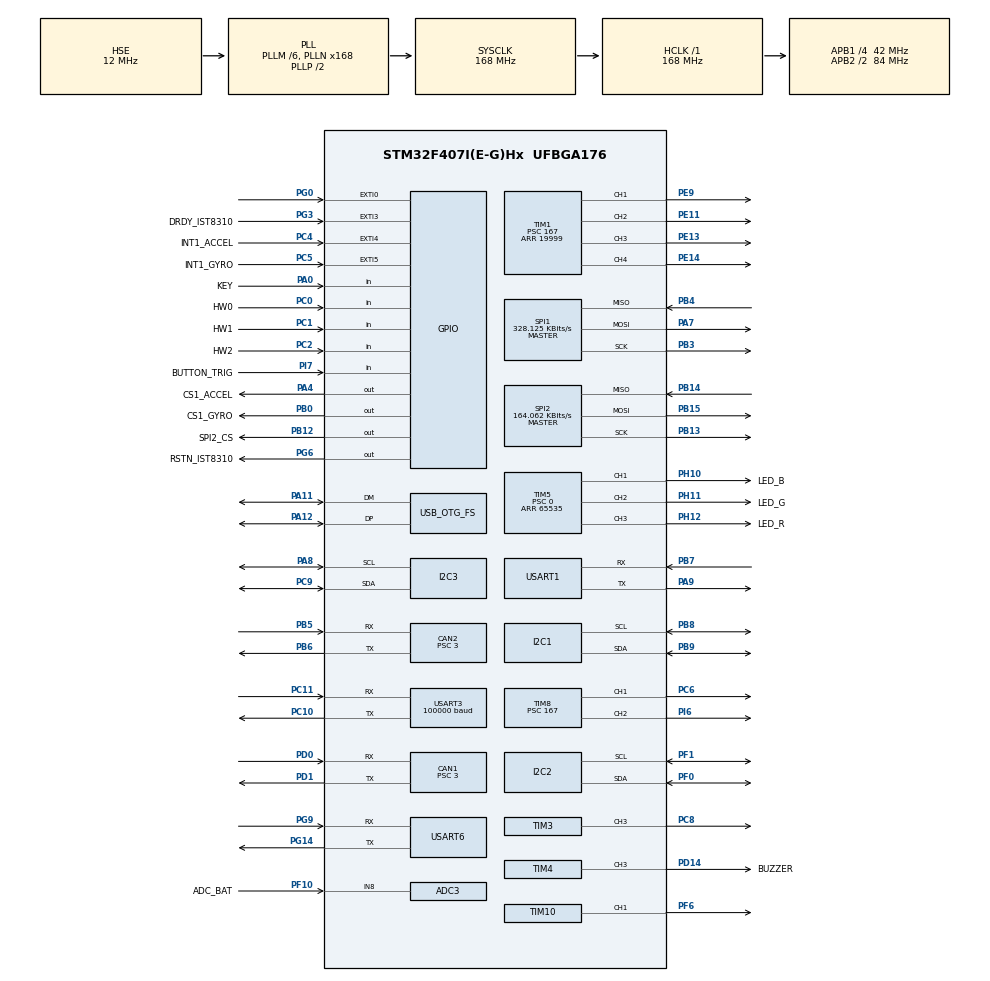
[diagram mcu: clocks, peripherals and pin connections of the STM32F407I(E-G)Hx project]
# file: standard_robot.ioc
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ADC1.Channel-0\#ChannelRegularConversion=ADC_CHANNEL_TEMPSENSOR
ADC1.ClockPrescaler=ADC_CLOCK_SYNC_PCLK_DIV6
ADC1.NbrOfConversionFlag=1
ADC1.Rank-0\#ChannelRegularConversion=1
ADC1.SamplingTime-0\#ChannelRegularConversion=ADC_SAMPLETIME_3CYCLES
ADC1.master=1
ADC3.Channel-0\#ChannelRegularConversion=ADC_CHANNEL_8
ADC3.ClockPrescaler=ADC_CLOCK_SYNC_PCLK_DIV6
ADC3.NbrOfConversionFlag=1
ADC3.Rank-0\#ChannelRegularConversion=1
ADC3.SamplingTime-0\#ChannelRegularConversion=ADC_SAMPLETIME_3CYCLES
CAN1.BS1=CAN_BS1_10TQ
CAN1.BS2=CAN_BS2_3TQ
CAN1.CalculateTimeQuantum=71.42857142857143
CAN1.Prescaler=3
CAN2.BS1=CAN_BS1_10TQ
CAN2.BS2=CAN_BS2_3TQ
CAN2.CalculateTimeQuantum=71.42857142857143
CAN2.Prescaler=3
Dma.I2C2_TX.2.Direction=DMA_MEMORY_TO_PERIPH
Dma.I2C2_TX.2.FIFOMode=DMA_FIFOMODE_DISABLE
Dma.I2C2_TX.2.Instance=DMA1_Stream7
Dma.I2C2_TX.2.MemDataAlignment=DMA_MDATAALIGN_BYTE
Dma.I2C2_TX.2.MemInc=DMA_MINC_ENABLE
Dma.I2C2_TX.2.Mode=DMA_NORMAL
Dma.I2C2_TX.2.PeriphDataAlignment=DMA_PDATAALIGN_BYTE
Dma.I2C2_TX.2.PeriphInc=DMA_PINC_DISABLE
Dma.I2C2_TX.2.Priority=DMA_PRIORITY_HIGH
Dma.Request0=SPI1_RX
Dma.Request1=SPI1_TX
Dma.Request2=I2C2_TX
Dma.Request3=USART3_RX
Dma.Request4=USART6_RX
Dma.Request5=USART6_TX
Dma.Request6=USART1_TX
Dma.Request7=USART1_RX
Dma.SPI1_RX.0.Direction=DMA_PERIPH_TO_MEMORY
Dma.SPI1_RX.0.FIFOMode=DMA_FIFOMODE_DISABLE
Dma.SPI1_RX.0.Instance=DMA2_Stream2
Dma.SPI1_RX.0.MemDataAlignment=DMA_MDATAALIGN_BYTE
Dma.SPI1_RX.0.MemInc=DMA_MINC_ENABLE
Dma.SPI1_RX.0.Mode=DMA_NORMAL
Dma.SPI1_RX.0.PeriphDataAlignment=DMA_PDATAALIGN_BYTE
Dma.SPI1_RX.0.PeriphInc=DMA_PINC_DISABLE
Dma.SPI1_RX.0.Priority=DMA_PRIORITY_VERY_HIGH
Dma.SPI1_TX.1.Direction=DMA_MEMORY_TO_PERIPH
Dma.SPI1_TX.1.FIFOMode=DMA_FIFOMODE_DISABLE
Dma.SPI1_TX.1.Instance=DMA2_Stream3
Dma.SPI1_TX.1.MemDataAlignment=DMA_MDATAALIGN_BYTE
Dma.SPI1_TX.1.MemInc=DMA_MINC_ENABLE
Dma.SPI1_TX.1.Mode=DMA_NORMAL
Dma.SPI1_TX.1.PeriphDataAlignment=DMA_PDATAALIGN_BYTE
Dma.SPI1_TX.1.PeriphInc=DMA_PINC_DISABLE
Dma.SPI1_TX.1.Priority=DMA_PRIORITY_HIGH
Dma.USART1_RX.7.Direction=DMA_PERIPH_TO_MEMORY
Dma.USART1_RX.7.FIFOMode=DMA_FIFOMODE_DISABLE
Dma.USART1_RX.7.Instance=DMA2_Stream5
Dma.USART1_RX.7.MemDataAlignment=DMA_MDATAALIGN_BYTE
Dma.USART1_RX.7.MemInc=DMA_MINC_ENABLE
Dma.USART1_RX.7.Mode=DMA_NORMAL
Dma.USART1_RX.7.PeriphDataAlignment=DMA_PDATAALIGN_BYTE
Dma.USART1_RX.7.PeriphInc=DMA_PINC_DISABLE
Dma.USART1_RX.7.Priority=DMA_PRIORITY_HIGH
Dma.USART1_TX.6.Direction=DMA_MEMORY_TO_PERIPH
Dma.USART1_TX.6.FIFOMode=DMA_FIFOMODE_DISABLE
Dma.USART1_TX.6.Instance=DMA2_Stream7
Dma.USART1_TX.6.MemDataAlignment=DMA_MDATAALIGN_BYTE
Dma.USART1_TX.6.MemInc=DMA_MINC_ENABLE
Dma.USART1_TX.6.Mode=DMA_NORMAL
Dma.USART1_TX.6.PeriphDataAlignment=DMA_PDATAALIGN_BYTE
Dma.USART1_TX.6.PeriphInc=DMA_PINC_DISABLE
Dma.USART1_TX.6.Priority=DMA_PRIORITY_MEDIUM
Dma.USART3_RX.3.Direction=DMA_PERIPH_TO_MEMORY
Dma.USART3_RX.3.FIFOMode=DMA_FIFOMODE_DISABLE
Dma.USART3_RX.3.Instance=DMA1_Stream1
Dma.USART3_RX.3.MemDataAlignment=DMA_MDATAALIGN_BYTE
Dma.USART3_RX.3.MemInc=DMA_MINC_ENABLE
Dma.USART3_RX.3.Mode=DMA_NORMAL
Dma.USART3_RX.3.PeriphDataAlignment=DMA_PDATAALIGN_BYTE
Dma.USART3_RX.3.PeriphInc=DMA_PINC_DISABLE
Dma.USART3_RX.3.Priority=DMA_PRIORITY_HIGH
Dma.USART6_RX.4.Direction=DMA_PERIPH_TO_MEMORY
Dma.USART6_RX.4.FIFOMode=DMA_FIFOMODE_DISABLE
Dma.USART6_RX.4.Instance=DMA2_Stream1
Dma.USART6_RX.4.MemDataAlignment=DMA_MDATAALIGN_BYTE
Dma.USART6_RX.4.MemInc=DMA_MINC_ENABLE
Dma.USART6_RX.4.Mode=DMA_NORMAL
Dma.USART6_RX.4.PeriphDataAlignment=DMA_PDATAALIGN_BYTE
Dma.USART6_RX.4.PeriphInc=DMA_PINC_DISABLE
Dma.USART6_RX.4.Priority=DMA_PRIORITY_HIGH
Dma.USART6_TX.5.Direction=DMA_MEMORY_TO_PERIPH
Dma.USART6_TX.5.FIFOMode=DMA_FIFOMODE_DISABLE
Dma.USART6_TX.5.Instance=DMA2_Stream6
Dma.USART6_TX.5.MemDataAlignment=DMA_MDATAALIGN_BYTE
Dma.USART6_TX.5.MemInc=DMA_MINC_ENABLE
Dma.USART6_TX.5.Mode=DMA_NORMAL
Dma.USART6_TX.5.PeriphDataAlignment=DMA_PDATAALIGN_BYTE
Dma.USART6_TX.5.PeriphInc=DMA_PINC_DISABLE
Dma.USART6_TX.5.Priority=DMA_PRIORITY_MEDIUM
FREERTOS.INCLUDE_eTaskGetState=1
FREERTOS.INCLUDE_pcTaskGetTaskName=1
FREERTOS.INCLUDE_uxTaskGetStackHighWaterMark=1
FREERTOS.INCLUDE_vTaskCleanUpResources=1
FREERTOS.INCLUDE_vTaskDelayUntil=1
FREERTOS.INCLUDE_xEventGroupSetBitFromISR=1
FREERTOS.INCLUDE_xQueueGetMutexHolder=1
FREERTOS.INCLUDE_xSemaphoreGetMutexHolder=1
FREERTOS.INCLUDE_xTaskAbortDelay=1
FREERTOS.INCLUDE_xTaskGetCurrentTaskHandle=1
FREERTOS.INCLUDE_xTaskGetHandle=1
FREERTOS.INCLUDE_xTimerPendFunctionCall=1
FREERTOS.Tasks01=test,24,128,test_task,As weak,NULL,Dynamic,NULL,NULL
FREERTOS.configTOTAL_HEAP_SIZE=24576
I2C1.I2C_Mode=I2C_Fast
I2C2.I2C_Mode=I2C_Fast
I2C3.I2C_Mode=I2C_Fast
Mcu.Family=STM32F4
Mcu.Name=STM32F407I(E-G)Hx
Mcu.Package=UFBGA176
NVIC.CAN1_RX0_IRQn=true\:6\:0\:true\:false\:true\:true\:true\:true\:true
NVIC.CAN2_RX0_IRQn=true\:6\:0\:true\:false\:true\:true\:true\:true\:true
NVIC.DMA1_Stream1_IRQn=true\:5\:0\:true\:false\:false\:true\:false\:false\:true
NVIC.DMA1_Stream7_IRQn=true\:5\:0\:true\:false\:false\:true\:false\:true\:true
NVIC.DMA2_Stream1_IRQn=true\:5\:0\:true\:false\:true\:true\:false\:true\:true
NVIC.DMA2_Stream2_IRQn=true\:5\:0\:true\:false\:false\:true\:false\:true\:true
NVIC.DMA2_Stream3_IRQn=true\:5\:0\:true\:false\:false\:true\:false\:true\:true
NVIC.DMA2_Stream5_IRQn=true\:5\:0\:false\:false\:true\:true\:false\:true\:true
NVIC.DMA2_Stream6_IRQn=true\:5\:0\:true\:false\:true\:true\:false\:true\:true
NVIC.DMA2_Stream7_IRQn=true\:5\:0\:true\:false\:true\:true\:false\:true\:true
NVIC.EXTI0_IRQn=true\:6\:0\:true\:false\:true\:true\:true\:true\:true
NVIC.EXTI3_IRQn=true\:5\:0\:true\:false\:true\:true\:true\:true\:true
NVIC.EXTI4_IRQn=true\:5\:0\:true\:false\:true\:true\:true\:true\:true
NVIC.EXTI9_5_IRQn=true\:5\:0\:true\:false\:true\:true\:true\:true\:true
NVIC.OTG_FS_IRQn=true\:5\:0\:false\:false\:true\:true\:false\:true\:true
NVIC.PriorityGroup=NVIC_PRIORITYGROUP_4
NVIC.USART1_IRQn=true\:5\:0\:false\:false\:true\:true\:true\:true\:true
NVIC.USART3_IRQn=true\:4\:0\:true\:false\:false\:false\:true\:true\:true
NVIC.USART6_IRQn=true\:5\:0\:true\:false\:false\:true\:true\:true\:true
PA0-WKUP.GPIO_Label=KEY
PA0-WKUP.GPIO_PuPd=GPIO_PULLUP
PA0-WKUP.Signal=GPIO_Input
PA11.Mode=Device_Only
PA11.Signal=USB_OTG_FS_DM
PA12.Mode=Device_Only
PA12.Signal=USB_OTG_FS_DP
PA13.Mode=Serial_Wire
PA13.Signal=SYS_JTMS-SWDIO
PA14.Mode=Serial_Wire
PA14.Signal=SYS_JTCK-SWCLK
PA4.GPIO_Label=CS1_ACCEL
PA4.GPIO_PuPd=GPIO_PULLUP
PA4.GPIO_Speed=GPIO_SPEED_FREQ_HIGH
PA4.PinState=GPIO_PIN_SET
PA4.Signal=GPIO_Output
PA7.GPIO_PuPd=GPIO_PULLUP
PA7.Mode=Full_Duplex_Master
PA7.Signal=SPI1_MOSI
PA8.Mode=I2C
PA8.Signal=I2C3_SCL
PA9.Mode=Asynchronous
PA9.Signal=USART1_TX
PB0.GPIO_Label=CS1_GYRO
PB0.GPIO_PuPd=GPIO_PULLUP
PB0.GPIO_Speed=GPIO_SPEED_FREQ_HIGH
PB0.PinState=GPIO_PIN_SET
PB0.Signal=GPIO_Output
PB12.GPIO_Label=SPI2_CS
PB12.GPIO_PuPd=GPIO_PULLUP
PB12.GPIO_Speed=GPIO_SPEED_FREQ_MEDIUM
PB12.PinState=GPIO_PIN_SET
PB12.Signal=GPIO_Output
PB13.GPIO_PuPd=GPIO_PULLUP
PB13.Mode=Full_Duplex_Master
PB13.Signal=SPI2_SCK
PB14.GPIO_PuPd=GPIO_PULLUP
PB14.Mode=Full_Duplex_Master
PB14.Signal=SPI2_MISO
PB15.GPIO_PuPd=GPIO_PULLUP
PB15.Mode=Full_Duplex_Master
PB15.Signal=SPI2_MOSI
PB3.GPIO_PuPd=GPIO_PULLUP
PB3.Mode=Full_Duplex_Master
PB3.Signal=SPI1_SCK
PB4.GPIO_PuPd=GPIO_PULLUP
PB4.Mode=Full_Duplex_Master
PB4.Signal=SPI1_MISO
PB5.Mode=Slave
PB5.Signal=CAN2_RX
PB6.Mode=Slave
PB6.Signal=CAN2_TX
PB7.Mode=Asynchronous
PB7.Signal=USART1_RX
PB8.Mode=I2C
PB8.Signal=I2C1_SCL
PB9.Mode=I2C
PB9.Signal=I2C1_SDA
PC0.GPIO_Label=HW0
PC0.Signal=GPIO_Input
PC1.GPIO_Label=HW1
PC1.Signal=GPIO_Input
PC10.Mode=Asynchronous
PC10.Signal=USART3_TX
PC11.Mode=Asynchronous
PC11.Signal=USART3_RX
PC2.GPIO_Label=HW2
PC2.Signal=GPIO_Input
PC4.GPIO_Label=INT1_ACCEL
PC4.GPIO_ModeDefaultEXTI=GPIO_MODE_IT_FALLING
PC4.GPIO_PuPd=GPIO_PULLUP
PC4.Signal=GPXTI4
PC5.GPIO_Label=INT1_GYRO
PC5.GPIO_ModeDefaultEXTI=GPIO_MODE_IT_FALLING
PC5.GPIO_PuPd=GPIO_PULLUP
PC5.Signal=GPXTI5
PC6.GPIO_PuPd=GPIO_PULLUP
PC6.GPIO_Speed=GPIO_SPEED_FREQ_HIGH
PC6.Signal=S_TIM8_CH1
PC8.GPIO_PuPd=GPIO_PULLUP
PC8.GPIO_Speed=GPIO_SPEED_FREQ_HIGH
PC8.Signal=S_TIM3_CH3
PC9.Mode=I2C
PC9.Signal=I2C3_SDA
PD0.Mode=Master
PD0.Signal=CAN1_RX
PD1.Mode=Master
PD1.Signal=CAN1_TX
PD14.GPIO_Label=BUZZER
PD14.GPIO_PuPd=GPIO_PULLUP
PD14.GPIO_Speed=GPIO_SPEED_FREQ_VERY_HIGH
PD14.Signal=S_TIM4_CH3
PE11.GPIO_PuPd=GPIO_PULLUP
PE11.GPIO_Speed=GPIO_SPEED_FREQ_HIGH
PE11.Signal=S_TIM1_CH2
PE13.GPIO_PuPd=GPIO_PULLUP
PE13.GPIO_Speed=GPIO_SPEED_FREQ_HIGH
PE13.Signal=S_TIM1_CH3
PE14.GPIO_PuPd=GPIO_PULLUP
PE14.GPIO_Speed=GPIO_SPEED_FREQ_HIGH
PE14.Signal=S_TIM1_CH4
PE9.GPIO_PuPd=GPIO_PULLUP
PE9.GPIO_Speed=GPIO_SPEED_FREQ_HIGH
PE9.Signal=S_TIM1_CH1
PF0.Mode=I2C
PF0.Signal=I2C2_SDA
PF1.Mode=I2C
PF1.Signal=I2C2_SCL
PF10.GPIO_Label=ADC_BAT
PF10.Mode=IN8
PF10.Signal=ADC3_IN8
PF6.GPIO_PuPd=GPIO_PULLUP
PF6.GPIO_Speed=GPIO_SPEED_FREQ_HIGH
PF6.Signal=S_TIM10_CH1
PG0.GPIO_ModeDefaultEXTI=GPIO_MODE_IT_FALLING
PG0.GPIO_PuPd=GPIO_PULLUP
PG0.Signal=GPXTI0
PG14.Mode=Asynchronous
PG14.Signal=USART6_TX
PG3.GPIO_Label=DRDY_IST8310
PG3.GPIO_ModeDefaultEXTI=GPIO_MODE_IT_FALLING
PG3.GPIO_PuPd=GPIO_PULLUP
PG3.Signal=GPXTI3
PG6.GPIO_Label=RSTN_IST8310
PG6.GPIO_PuPd=GPIO_PULLUP
PG6.GPIO_Speed=GPIO_SPEED_FREQ_MEDIUM
PG6.PinState=GPIO_PIN_SET
PG6.Signal=GPIO_Output
PG9.Mode=Asynchronous
PG9.Signal=USART6_RX
PH0-OSC_IN.Mode=HSE-External-Oscillator
PH0-OSC_IN.Signal=RCC_OSC_IN
PH1-OSC_OUT.Mode=HSE-External-Oscillator
PH1-OSC_OUT.Signal=RCC_OSC_OUT
PH10.GPIO_Label=LED_B
PH10.GPIO_PuPd=GPIO_PULLUP
PH10.GPIO_Speed=GPIO_SPEED_FREQ_HIGH
PH10.Signal=S_TIM5_CH1
PH11.GPIO_Label=LED_G
PH11.GPIO_PuPd=GPIO_PULLUP
PH11.GPIO_Speed=GPIO_SPEED_FREQ_HIGH
PH11.Signal=S_TIM5_CH2
PH12.GPIO_Label=LED_R
PH12.GPIO_PuPd=GPIO_PULLUP
PH12.GPIO_Speed=GPIO_SPEED_FREQ_HIGH
PH12.Signal=S_TIM5_CH3
PI6.GPIO_PuPd=GPIO_PULLUP
PI6.GPIO_Speed=GPIO_SPEED_FREQ_HIGH
PI6.Signal=S_TIM8_CH2
PI7.GPIO_Label=BUTTON_TRIG
PI7.GPIO_PuPd=GPIO_PULLUP
PI7.Signal=GPIO_Input
ProjectManager.HeapSize=0x2000
ProjectManager.StackSize=0x2000
ProjectManager.TargetToolchain=MDK-ARM V5.32
RCC.48MHZClocksFreq_Value=48000000
RCC.AHBFreq_Value=168000000
RCC.APB1CLKDivider=RCC_HCLK_DIV4
RCC.APB1Freq_Value=42000000
RCC.APB1TimFreq_Value=84000000
RCC.APB2CLKDivider=RCC_HCLK_DIV2
RCC.APB2Freq_Value=84000000
RCC.APB2TimFreq_Value=168000000
RCC.CortexFreq_Value=168000000
RCC.HCLKFreq_Value=168000000
RCC.HSE_VALUE=12000000
RCC.HSI_VALUE=16000000
RCC.LSE_VALUE=32768
RCC.PLLM=6
RCC.PLLN=168
RCC.PLLQ=7
RCC.RCC_RTC_Clock_SourceVirtual=RCC_RTCCLKSOURCE_HSE_DIV30
RCC.RCC_RTC_Clock_Source_FROM_HSE=RCC_RTCCLKSOURCE_HSE_DIV30
RCC.SYSCLKFreq_VALUE=168000000
RCC.SYSCLKSource=RCC_SYSCLKSOURCE_PLLCLK
RCC.VCOOutputFreq_Value=336000000
RTC.AsynchPrediv=124
RTC.SynchPrediv=3199
SH.S_TIM10_CH1.0=TIM10_CH1,PWM Generation1 CH1
SH.S_TIM1_CH1.0=TIM1_CH1,PWM Generation1 CH1
SH.S_TIM1_CH2.0=TIM1_CH2,PWM Generation2 CH2
SH.S_TIM1_CH3.0=TIM1_CH3,PWM Generation3 CH3
SH.S_TIM1_CH4.0=TIM1_CH4,PWM Generation4 CH4
SH.S_TIM3_CH3.0=TIM3_CH3,PWM Generation3 CH3
SH.S_TIM4_CH3.0=TIM4_CH3,PWM Generation3 CH3
SH.S_TIM5_CH1.0=TIM5_CH1,PWM Generation1 CH1
SH.S_TIM5_CH2.0=TIM5_CH2,PWM Generation2 CH2
SH.S_TIM5_CH3.0=TIM5_CH3,PWM Generation3 CH3
SH.S_TIM8_CH1.0=TIM8_CH1,PWM Generation1 CH1
SH.S_TIM8_CH2.0=TIM8_CH2,PWM Generation2 CH2
SPI1.BaudRatePrescaler=SPI_BAUDRATEPRESCALER_256
SPI1.CLKPhase=SPI_PHASE_2EDGE
SPI1.CLKPolarity=SPI_POLARITY_HIGH
SPI1.CalculateBaudRate=328.125 KBits/s
SPI1.Direction=SPI_DIRECTION_2LINES
SPI1.Mode=SPI_MODE_MASTER
SPI1.VirtualType=VM_MASTER
SPI2.BaudRatePrescaler=SPI_BAUDRATEPRESCALER_256
SPI2.CLKPhase=SPI_PHASE_2EDGE
SPI2.CLKPolarity=SPI_POLARITY_HIGH
SPI2.CalculateBaudRate=164.062 KBits/s
SPI2.Direction=SPI_DIRECTION_2LINES
SPI2.Mode=SPI_MODE_MASTER
SPI2.VirtualType=VM_MASTER
TIM1.Channel-PWM\ Generation1\ CH1=TIM_CHANNEL_1
TIM1.Channel-PWM\ Generation2\ CH2=TIM_CHANNEL_2
TIM1.Channel-PWM\ Generation3\ CH3=TIM_CHANNEL_3
TIM1.Channel-PWM\ Generation4\ CH4=TIM_CHANNEL_4
TIM1.Period=19999
TIM1.Prescaler=167
TIM1.Pulse-PWM\ Generation1\ CH1=1000
TIM1.Pulse-PWM\ Generation2\ CH2=1000
TIM1.Pulse-PWM\ Generation3\ CH3=1000
TIM1.Pulse-PWM\ Generation4\ CH4=1000
TIM10.Channel=TIM_CHANNEL_1
TIM10.Period=4999
TIM3.Channel-PWM\ Generation3\ CH3=TIM_CHANNEL_3
TIM3.Period=8399
TIM4.Channel-PWM\ Generation3\ CH3=TIM_CHANNEL_3
TIM4.Period=65535
TIM4.Prescaler=167
TIM5.Channel-PWM\ Generation1\ CH1=TIM_CHANNEL_1
TIM5.Channel-PWM\ Generation2\ CH2=TIM_CHANNEL_2
TIM5.Channel-PWM\ Generation3\ CH3=TIM_CHANNEL_3
TIM5.Period=65535
TIM5.Prescaler=0
TIM8.Channel-PWM\ Generation1\ CH1=TIM_CHANNEL_1
TIM8.Channel-PWM\ Generation2\ CH2=TIM_CHANNEL_2
TIM8.Period=19999
TIM8.Prescaler=167
TIM8.Pulse-PWM\ Generation1\ CH1=1000
TIM8.Pulse-PWM\ Generation2\ CH2=1000
USART1.VirtualMode=VM_ASYNC
USART3.BaudRate=100000
USART3.Parity=PARITY_EVEN
USART3.VirtualMode=VM_ASYNC
USART6.VirtualMode=VM_ASYNC
USB_DEVICE.CLASS_NAME_FS=CDC
USB_DEVICE.VirtualMode-CDC_FS=Cdc
USB_DEVICE.VirtualModeFS=Cdc_FS
USB_OTG_FS.VirtualMode=Device_Only
VP_ADC1_TempSens_Input.Mode=IN-TempSens
VP_ADC1_Vref_Input.Mode=IN-Vrefint
VP_CRC_VS_CRC.Mode=CRC_Activate
VP_FREERTOS_VS_CMSIS_V1.Mode=CMSIS_V1
VP_RNG_VS_RNG.Mode=RNG_Activate
VP_RTC_VS_RTC_Activate.Mode=RTC_Enabled
VP_TIM10_VS_ClockSourceINT.Mode=Enable_Timer
VP_TIM1_VS_ClockSourceINT.Mode=Internal
VP_TIM3_VS_ClockSourceINT.Mode=Internal
VP_TIM4_VS_ClockSourceINT.Mode=Internal
VP_TIM5_VS_ClockSourceINT.Mode=Internal
VP_TIM8_VS_ClockSourceINT.Mode=Internal
VP_USB_DEVICE_VS_USB_DEVICE_CDC_FS.Mode=CDC_FS
board=custom

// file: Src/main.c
/* USER CODE BEGIN Header */
/**
 ******************************************************************************
 * @file           : main.c
 * @brief          : Main program body
 ******************************************************************************
 * @attention
 *
 * <h2><center>&copy; Copyright (c) 2019 STMicroelectronics.
 * All rights reserved.</center></h2>
 *
 * This software component is licensed by ST under Ultimate Liberty license
 * SLA0044, the "License"; You may not use this file except in compliance with
 * the License. You may obtain a copy of the License at:
 *                             www.st.com/SLA0044
 *
 ******************************************************************************
 */
/* USER CODE END Header */

#include "main.h"
#include "cmsis_os.h"
#include "adc.h"
#include "can.h"
#include "crc.h"
#include "dma.h"
#include "i2c.h"
#include "rng.h"
#include "rtc.h"
#include "spi.h"
#include "tim.h"
#include "usart.h"
#include "usb_device.h"
#include "gpio.h"

/* USER CODE BEGIN Includes */
#include "bsp_can.h"
#include "bsp_delay.h"
#include "bsp_usart.h"
#include "remote_control.h"
#include "CAN_receive.h"
#include "chassis_task.h"
#include "detect_task.h"
#include "gimbal_task.h"
#include "INS_task.h"
#include "led_flow_task.h"
#include "referee_usart_task.h"
#include "stm32.h"
#include "stm32_private.h"
#include "BMI088driver.h"
#include "bsp_dwt.h"
/* USER CODE END Includes */

/* USER CODE BEGIN PV */

uint8_t arxbuffer[24];

/* USER CODE END PV */

void SystemClock_Config(void);
void MX_FREERTOS_Init(void);

int main(void)
{

    /* MCU Configuration--------------------------------------------------------*/

    /* Reset of all peripherals, Initializes the Flash interface and the Systick. */
    HAL_Init();

    /* Configure the system clock */
    SystemClock_Config();

    /* Initialize all configured peripherals */
    MX_GPIO_Init();
    MX_DMA_Init();
    MX_ADC1_Init();
    MX_ADC3_Init();
    MX_CAN1_Init();
    MX_CAN2_Init();
    MX_I2C1_Init();
    MX_SPI1_Init();
    MX_TIM4_Init();
    MX_TIM5_Init();
    MX_USART3_UART_Init();
    MX_TIM8_Init();
    MX_CRC_Init();
    MX_RNG_Init();
    MX_I2C2_Init();
    MX_I2C3_Init();
    MX_RTC_Init();
    MX_SPI2_Init();
    MX_TIM1_Init();
    MX_TIM3_Init();
    MX_TIM10_Init();
    MX_USART1_UART_Init();
    MX_USART6_UART_Init();
    /* USER CODE BEGIN 2 */
    MX_USB_DEVICE_Init();
		CAN_Init(&hcan1, CAN_Motor_Call_Back);
		CAN_Init(&hcan2, CAN2_Motor_Call_Back);
    can_filter_init();
    delay_init();
    remote_control_init();
		vision_init();
    DWT_Init(168);
    while (BMI088_init(&hspi1, 0) != BMI088_NO_ERROR)
    {
        ;
    }
    /* USER CODE END 2 */

    /* Call init function for freertos objects (in freertos.c) */
    MX_FREERTOS_Init();

    /* Start scheduler */
    osKernelStart();

    /* We should never get here as control is now taken by the scheduler */

    /* Infinite loop */
    while (1)
    {

    }
}

void SystemClock_Config(void)
{
    RCC_OscInitTypeDef RCC_OscInitStruct = {0};
    RCC_ClkInitTypeDef RCC_ClkInitStruct = {0};
    RCC_PeriphCLKInitTypeDef PeriphClkInitStruct = {0};

    /** Configure the main internal regulator output voltage
     */
    __HAL_RCC_PWR_CLK_ENABLE();
    __HAL_PWR_VOLTAGESCALING_CONFIG(PWR_REGULATOR_VOLTAGE_SCALE1);
    /** Initializes the CPU, AHB and APB busses clocks
     */
    RCC_OscInitStruct.OscillatorType = RCC_OSCILLATORTYPE_HSE;
    RCC_OscInitStruct.HSEState = RCC_HSE_ON;
    RCC_OscInitStruct.PLL.PLLState = RCC_PLL_ON;
    RCC_OscInitStruct.PLL.PLLSource = RCC_PLLSOURCE_HSE;
    RCC_OscInitStruct.PLL.PLLM = 6;
    RCC_OscInitStruct.PLL.PLLN = 168;
    RCC_OscInitStruct.PLL.PLLP = RCC_PLLP_DIV2;
    RCC_OscInitStruct.PLL.PLLQ = 7;
    if (HAL_RCC_OscConfig(&RCC_OscInitStruct) != HAL_OK)
    {
        Error_Handler();
    }
    /** Initializes the CPU, AHB and APB busses clocks
     */
    RCC_ClkInitStruct.ClockType = RCC_CLOCKTYPE_HCLK | RCC_CLOCKTYPE_SYSCLK | RCC_CLOCKTYPE_PCLK1 | RCC_CLOCKTYPE_PCLK2;
    RCC_ClkInitStruct.SYSCLKSource = RCC_SYSCLKSOURCE_PLLCLK;
    RCC_ClkInitStruct.AHBCLKDivider = RCC_SYSCLK_DIV1;
    RCC_ClkInitStruct.APB1CLKDivider = RCC_HCLK_DIV4;
    RCC_ClkInitStruct.APB2CLKDivider = RCC_HCLK_DIV2;

    if (HAL_RCC_ClockConfig(&RCC_ClkInitStruct, FLASH_LATENCY_5) != HAL_OK)
    {
        Error_Handler();
    }
    PeriphClkInitStruct.PeriphClockSelection = RCC_PERIPHCLK_RTC;
    PeriphClkInitStruct.RTCClockSelection = RCC_RTCCLKSOURCE_HSE_DIV30;
    if (HAL_RCCEx_PeriphCLKConfig(&PeriphClkInitStruct) != HAL_OK)
    {
        Error_Handler();
    }
}

void Error_Handler(void)
{
}

/************************ (C) COPYRIGHT STMicroelectronics *****END OF FILE****/
